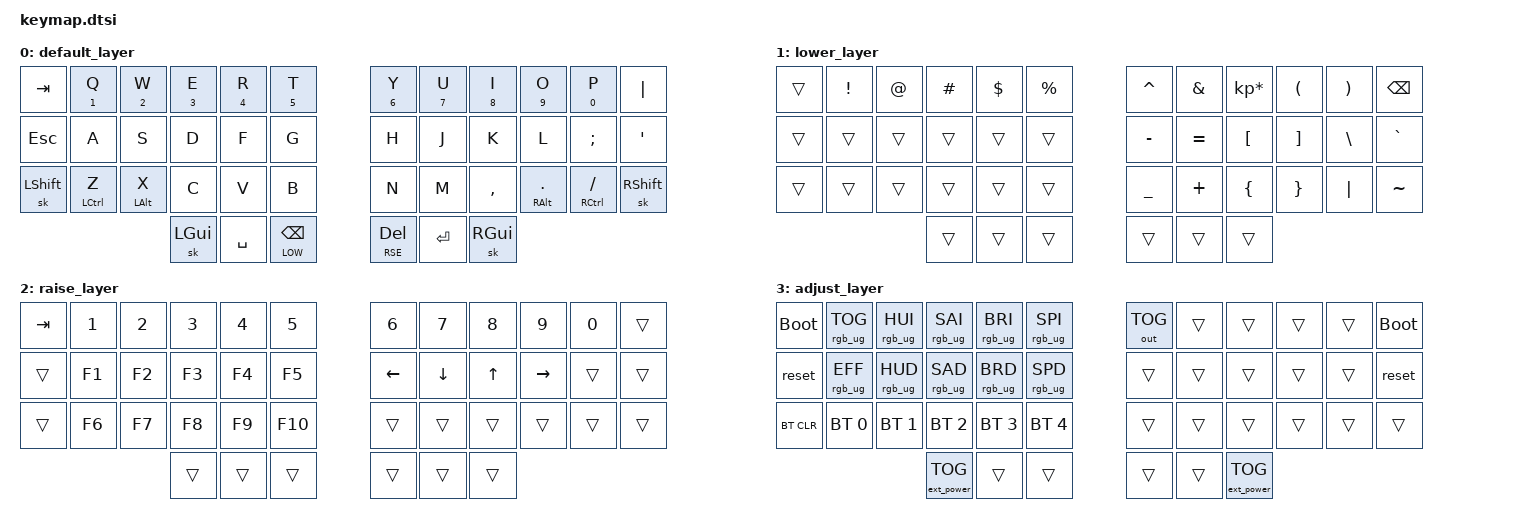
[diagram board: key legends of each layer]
#include <behaviors.dtsi>
#include <dt-bindings/zmk/keys.h>
#include <dt-bindings/zmk/bt.h> 
#include <dt-bindings/zmk/rgb.h>
#include <dt-bindings/zmk/ext_power.h>
#include <dt-bindings/zmk/outputs.h>



#define DEF 0
#define LOW 1
#define RSE 2
#define ADJ 3


&sk {
    release-after-ms = <500>;
};

&caps_word {};

/ {
        conditional_layers {
          compatible = "zmk,conditional-layers";
          tri_layer {
              if-layers = <LOW RSE>;
              then-layer = <ADJ>;
          };
        };

        combos {
          compatible = "zmk,combos";
          combo_esc {
              timeout-ms = <50>;
              key-positions = <24 35>; // LSFT + RSHFT
              bindings = <&caps_word>;
          };
        };
          
        behaviors {
            lt_qk: layer_toggle_quick {
                compatible = "zmk,behavior-hold-tap";
                label = "LAYER_TOGGLE_QUICK";
                #binding-cells = <2>;
                flavor = "tap-preferred";
                tapping-term-ms = <150>;
                quick-tap-ms = <150>;
                bindings = <&mo>, <&kp>;
            };
            mt_sk: mod_tap_sticky {
              compatible = "zmk,behavior-hold-tap";
              label = "MOD_TAP_STICKY";
              #binding-cells = <2>;
              flavor = "tap-preferred";
              tapping-term-ms = <150>;
              quick-tap-ms = <150>;
              bindings = <&sk>, <&kp>;
          };
          ht: hold_tap {
              compatible = "zmk,behavior-hold-tap";
              label = "HOLD_TAP";
              #binding-cells = <2>;
              tapping_term_ms = <175>;
              quick_tap_ms = <150>;
              flavor = "tap-preferred";
              bindings = <&kp>, <&kp>;
          };
        };

        keymap {
                compatible = "zmk,keymap";

                default_layer {
// -----------------------------------------------------------------------------------------
// |  TAB |  Q        |  W       |  E  |  R  |  T  |   |  Y  |  U   |  I  |  O  |  P  | "|"  |
// |  ESC |  A        |  S       |  D  |  F  |  G  |   |  H  |  J   |  K  |  L  |  ;  |  '   |
// | SHFT |  LCTRL/Z  |  LALT/X  |  C  |  V  |  B  |   |  N  |  M   |  ,  |  .  |  /  | ESC  |
//                    | GUI | SPC | BKSP/LWR |   | RSE | ENT  | ALT |
                        bindings = <
   &kp TAB   &ht N1 Q        &ht N2 W       &ht N3 E &ht N4 R &ht N5 T   &ht N6 Y &ht N7 U  &ht N8 I     &ht N9 O           &ht N0 P             &kp PIPE
   &kp ESC   &kp A          &kp S         &kp D &kp F &kp G   &kp H &kp J  &kp K     &kp L           &kp SEMI          &kp SQT
   &sk LSHFT &mt_sk LCTRL Z &mt_sk LALT X &kp C &kp V &kp B   &kp N &kp M  &kp COMMA &mt_sk RALT DOT &mt_sk RCTRL FSLH &sk RSHFT
                  &sk LGUI &kp SPACE &lt_qk LOW BKSP        &lt_qk RSE DEL  &kp RET &sk RGUI
                        >;
                };

                lower_layer {
// -----------------------------------------------------------------------------------------
// |  TAB |  !  |  @  |  #  |  $  |  %  |   |  ^  |  &  |  *  |  (  |  )  | BKSP |
// | CTRL |     |     |     |     |     |   |  -  |  =  |  [  |  ]  |  \  |  `   |
// | SHFT |     |     |     |     |     |   |  _  |  +  |  {  |  }  | "|" |  ~   |
//                    | GUI |     | SPC |   | ENT |     | ALT |
                        bindings = <
   &trans  &kp EXCL &kp AT &kp HASH &kp DLLR &kp PRCNT   &kp CARET &kp AMPS  &kp KP_MULTIPLY &kp LPAR &kp RPAR &kp BSPC
   &trans  &trans   &trans &trans   &trans   &trans      &kp MINUS &kp EQUAL &kp LBKT        &kp RBKT &kp BSLH &kp GRAVE
   &trans  &trans   &trans &trans   &trans   &trans      &kp UNDER &kp PLUS  &kp LBRC        &kp RBRC &kp PIPE &kp TILDE
                    	      &trans &trans   &trans   &trans   &trans    &trans
                        >;
                };

                raise_layer {
// -----------------------------------------------------------------------------------------
// |  TAB |  1  |  2  |  3  |  4  |  5  |   |  6  |  7  |  8  |  9  |  0  | BKSP |
// | BTCLR| BT1 | BT2 | BT3 | BT4 | BT5 |   | LFT | DWN |  UP | RGT |     |      |
// | SHFT |     |     |     |     |     |   |     |     |     |     |     |      |
//                    | GUI |     | SPC |   | ENT |     | ALT |
                        bindings = <
   &kp TAB    &kp N1     &kp N2     &kp N3     &kp N4     &kp N5         &kp N6   &kp N7   &kp N8 &kp N9    &kp N0 &trans
   &trans     &kp F1     &kp F2     &kp F3     &kp F4     &kp F5         &kp LEFT &kp DOWN &kp UP &kp RIGHT &trans &trans
   &trans     &kp F6     &kp F7     &kp F8     &kp F9     &kp F10        &trans   &trans   &trans &trans    &trans &trans
                    	   &trans &trans   &trans   &trans   &trans    &trans
                        >;
                };

                adjust_layer {
// -----------------------------------------------------------------------------------------
// | BOOT  |           |      |      |      |      |      |      |      |      |      |      | BOOT  |
// | RESET |  RGB_TOG  |      |      |      |      |      |      |      |      |      |      | RESET |
// | BTCLR |  BT1      | BT2  | BT 3 | BT4  | BT5  |      |      |      |      |      |      |       |
//                 |     |     |     |        |      |     |     |
                        bindings = <
   &bootloader &rgb_ug RGB_TOG &rgb_ug RGB_HUI  &rgb_ug RGB_SAI &rgb_ug RGB_BRI &rgb_ug RGB_SPI             &out OUT_TOG &trans &trans &trans &trans &bootloader
   &reset      &rgb_ug RGB_EFF &rgb_ug RGB_HUD  &rgb_ug RGB_SAD &rgb_ug RGB_BRD &rgb_ug RGB_SPD             &trans       &trans &trans &trans &trans &reset
   &bt BT_CLR  &bt BT_SEL 0    &bt BT_SEL 1     &bt BT_SEL 2    &bt BT_SEL 3    &bt BT_SEL 4                &trans       &trans &trans &trans &trans &trans
                                                              &ext_power EP_TOG &trans &trans               &trans       &trans &ext_power EP_TOG 
                        >;
                };
       };  
};
